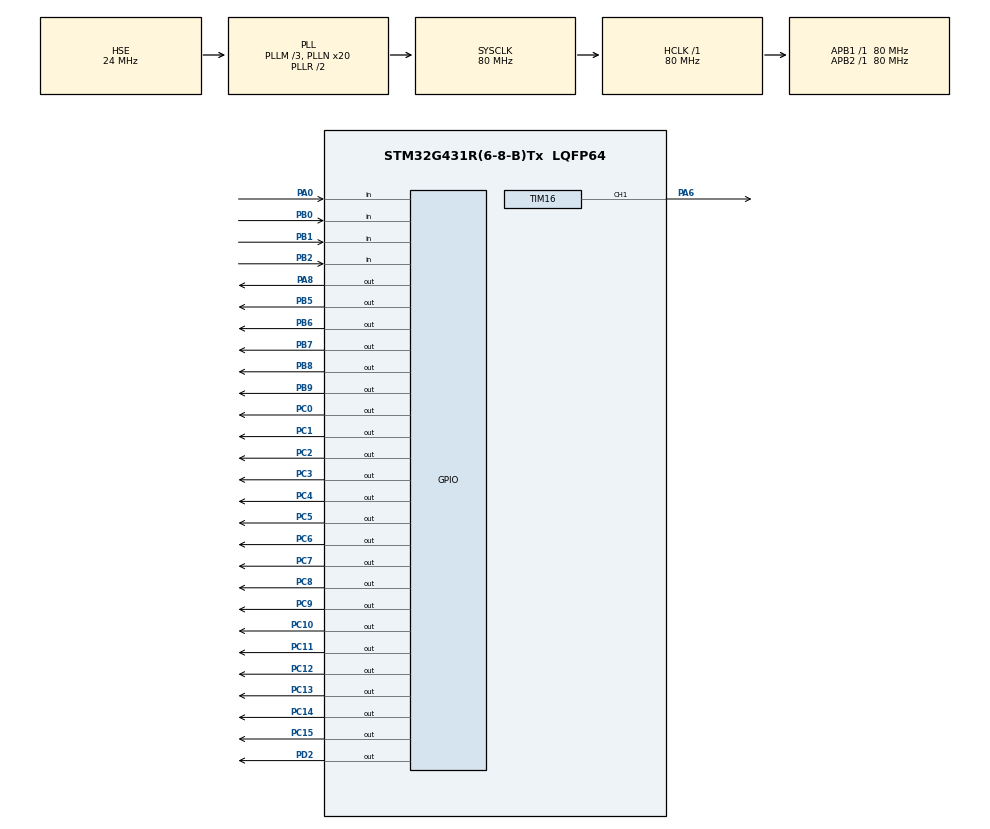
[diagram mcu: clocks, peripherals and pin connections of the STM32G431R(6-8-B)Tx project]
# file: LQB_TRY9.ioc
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Mcu.Family=STM32G4
Mcu.Name=STM32G431R(6-8-B)Tx
Mcu.Package=LQFP64
NVIC.PriorityGroup=NVIC_PRIORITYGROUP_4
NVIC.TIM6_DAC_IRQn=true\:0\:0\:false\:false\:true\:true\:true
PA0.GPIO_Mode=GPIO_MODE_INPUT
PA0.GPIO_PuPd=GPIO_PULLUP
PA0.Signal=GPIO_Input
PA13.Mode=Serial_Wire
PA13.Signal=SYS_JTMS-SWDIO
PA14.Mode=Serial_Wire
PA14.Signal=SYS_JTCK-SWCLK
PA6.Signal=S_TIM16_CH1
PA8.Signal=GPIO_Output
PB0.GPIO_Mode=GPIO_MODE_INPUT
PB0.GPIO_PuPd=GPIO_PULLUP
PB0.Signal=GPIO_Input
PB1.GPIO_Mode=GPIO_MODE_INPUT
PB1.GPIO_PuPd=GPIO_PULLUP
PB1.Signal=GPIO_Input
PB2.GPIO_Mode=GPIO_MODE_INPUT
PB2.GPIO_PuPd=GPIO_PULLUP
PB2.Signal=GPIO_Input
PB5.Signal=GPIO_Output
PB6.Signal=GPIO_Output
PB7.Signal=GPIO_Output
PB8-BOOT0.Signal=GPIO_Output
PB9.Signal=GPIO_Output
PC0.Signal=GPIO_Output
PC1.Signal=GPIO_Output
PC10.Signal=GPIO_Output
PC11.Signal=GPIO_Output
PC12.Signal=GPIO_Output
PC13.Signal=GPIO_Output
PC14-OSC32_IN.Signal=GPIO_Output
PC15-OSC32_OUT.Signal=GPIO_Output
PC2.Signal=GPIO_Output
PC3.Signal=GPIO_Output
PC4.Signal=GPIO_Output
PC5.Signal=GPIO_Output
PC6.Signal=GPIO_Output
PC7.Signal=GPIO_Output
PC8.Signal=GPIO_Output
PC9.Signal=GPIO_Output
PD2.Signal=GPIO_Output
PF0-OSC_IN.Mode=HSE-External-Oscillator
PF0-OSC_IN.Signal=RCC_OSC_IN
PF1-OSC_OUT.Mode=HSE-External-Oscillator
PF1-OSC_OUT.Signal=RCC_OSC_OUT
ProjectManager.HeapSize=0x200
ProjectManager.StackSize=0x400
ProjectManager.TargetToolchain=MDK-ARM V5
RCC.ADC12Freq_Value=80000000
RCC.AHBFreq_Value=80000000
RCC.APB1Freq_Value=80000000
RCC.APB1TimFreq_Value=80000000
RCC.APB2Freq_Value=80000000
RCC.APB2TimFreq_Value=80000000
RCC.CortexFreq_Value=80000000
RCC.EXTERNAL_CLOCK_VALUE=12288000
RCC.HCLKFreq_Value=80000000
RCC.HSE_VALUE=24000000
RCC.HSI48_VALUE=48000000
RCC.HSI_VALUE=16000000
RCC.LSE_VALUE=32768
RCC.PLLM=RCC_PLLM_DIV3
RCC.PLLN=20
RCC.PLLSourceVirtual=RCC_PLLSOURCE_HSE
RCC.SYSCLKFreq_VALUE=80000000
RCC.SYSCLKSource=RCC_SYSCLKSOURCE_PLLCLK
RCC.USBFreq_Value=80000000
RCC.VCOOutputFreq_Value=160000000
SH.S_TIM16_CH1.0=TIM16_CH1,PWM Generation1 CH1
TIM16.Channel=TIM_CHANNEL_1
TIM16.PeriodNoDither=99
TIM16.Prescaler=800-1
TIM16.PulseNoDither_1=80
TIM6.PeriodNoDither=999
TIM6.Prescaler=800-1
VP_SYS_VS_DBSignals.Mode=DisableDeadBatterySignals
VP_TIM16_VS_ClockSourceINT.Mode=Enable_Timer
VP_TIM6_VS_ClockSourceINT.Mode=Enable_Timer
board=custom

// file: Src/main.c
/* USER CODE BEGIN Header */
/**
  ******************************************************************************
  * @file           : main.c
  * @brief          : Main program body
  ******************************************************************************
  * @attention
  *
  * <h2><center>&copy; Copyright (c) 2023 STMicroelectronics.
  * All rights reserved.</center></h2>
  *
  * This software component is licensed by ST under BSD 3-Clause license,
  * the "License"; You may not use this file except in compliance with the
  * License. You may obtain a copy of the License at:
  *                        opensource.org/licenses/BSD-3-Clause
  *
  ******************************************************************************
  */
/* USER CODE END Header */
#include "main.h"
#include "tim.h"
#include "gpio.h"

/* USER CODE BEGIN Includes */
#include "lcd.h"
#include "i2c_hal.h"
#include "mint.h"
#include "stdio.h"

/* USER CODE END Includes */

/* USER CODE BEGIN PV */
extern struct keys key[4];
uint8_t page=0,setting=0,time_sta=0;
char text[30];
char text1;

struct utimes utime[5] = { 0 };
struct utimes stime = { 0 };

extern int dtime;

/* USER CODE END PV */

void SystemClock_Config(void);
/* USER CODE BEGIN PFP */
void KEY_Proc(void);
void LCD_Proc(void);

/* USER CODE END PFP */

int main(void)
{

  /* MCU Configuration--------------------------------------------------------*/

  /* Reset of all peripherals, Initializes the Flash interface and the Systick. */
  HAL_Init();

  /* Configure the system clock */
  SystemClock_Config();

  /* Initialize all configured peripherals */
  MX_GPIO_Init();
  MX_TIM6_Init();
  MX_TIM16_Init();
  /* USER CODE BEGIN 2 */
	HAL_TIM_Base_Start_IT(&htim6);

//	HAL_TIM_PWM_Start(&htim16,TIM_CHANNEL_1);
//	__HAL_TIM_SetCompare(&htim16,TIM_CHANNEL_1,80);

	LCD_Init();
	LCD_Clear(White);
	LCD_SetBackColor(White);
	LCD_SetTextColor(Blue);

	HAL_GPIO_WritePin(GPIOC,GPIO_PIN_All,GPIO_PIN_SET);
	HAL_GPIO_WritePin(GPIOD,GPIO_PIN_2,GPIO_PIN_SET);
	HAL_GPIO_WritePin(GPIOD,GPIO_PIN_2,GPIO_PIN_RESET);

	for(int i=0;i<5;i++)
	{
		utime[i].hour = eeprom_read(3*i)<24?eeprom_read(3*i):0;
		utime[i].min = eeprom_read(3*i+1)<60?eeprom_read(3*i+1):0;
		utime[i].sec = eeprom_read(3*i+2)<60?eeprom_read(3*i+2):0;
	}

  /* USER CODE END 2 */

  /* Infinite loop */
  /* USER CODE BEGIN WHILE */
  while (1)
  {
		KEY_Proc();
		LCD_Proc();
    /* USER CODE END WHILE */

  }
}

void SystemClock_Config(void)
{
  RCC_OscInitTypeDef RCC_OscInitStruct = {0};
  RCC_ClkInitTypeDef RCC_ClkInitStruct = {0};

  /** Configure the main internal regulator output voltage
  */
  HAL_PWREx_ControlVoltageScaling(PWR_REGULATOR_VOLTAGE_SCALE1);
  /** Initializes the RCC Oscillators according to the specified parameters
  * in the RCC_OscInitTypeDef structure.
  */
  RCC_OscInitStruct.OscillatorType = RCC_OSCILLATORTYPE_HSE;
  RCC_OscInitStruct.HSEState = RCC_HSE_ON;
  RCC_OscInitStruct.PLL.PLLState = RCC_PLL_ON;
  RCC_OscInitStruct.PLL.PLLSource = RCC_PLLSOURCE_HSE;
  RCC_OscInitStruct.PLL.PLLM = RCC_PLLM_DIV3;
  RCC_OscInitStruct.PLL.PLLN = 20;
  RCC_OscInitStruct.PLL.PLLP = RCC_PLLP_DIV2;
  RCC_OscInitStruct.PLL.PLLQ = RCC_PLLQ_DIV2;
  RCC_OscInitStruct.PLL.PLLR = RCC_PLLR_DIV2;
  if (HAL_RCC_OscConfig(&RCC_OscInitStruct) != HAL_OK)
  {
    Error_Handler();
  }
  /** Initializes the CPU, AHB and APB buses clocks
  */
  RCC_ClkInitStruct.ClockType = RCC_CLOCKTYPE_HCLK|RCC_CLOCKTYPE_SYSCLK
                              |RCC_CLOCKTYPE_PCLK1|RCC_CLOCKTYPE_PCLK2;
  RCC_ClkInitStruct.SYSCLKSource = RCC_SYSCLKSOURCE_PLLCLK;
  RCC_ClkInitStruct.AHBCLKDivider = RCC_SYSCLK_DIV1;
  RCC_ClkInitStruct.APB1CLKDivider = RCC_HCLK_DIV1;
  RCC_ClkInitStruct.APB2CLKDivider = RCC_HCLK_DIV1;

  if (HAL_RCC_ClockConfig(&RCC_ClkInitStruct, FLASH_LATENCY_2) != HAL_OK)
  {
    Error_Handler();
  }
}

/* USER CODE BEGIN 4 */
int i=0;
void KEY_Proc(void)
{
	/**************************************************短按键*************************************************/
	if(key[0].short_sta == 1)
	{
		page = page==4?0:page+1;
		key[0].short_sta = 0;
	}
	if(key[1].short_sta == 1)
	{
		setting = setting==3?1:setting+1;
		key[1].short_sta = 0;
	}
	if(key[2].short_sta == 1)
	{
		if(setting == 1) utime[page].hour = utime[page].hour==23?0:utime[page].hour+1;
		else if(setting == 2) utime[page].min = utime[page].min==59?0:utime[page].min+1;
		else if(setting == 3) utime[page].sec = utime[page].sec==59?0:utime[page].sec+1;
		key[2].short_sta = 0;
	}
	if(key[3].short_sta == 1)
	{
		if(time_sta == 0)
		{
			//dtime清零，开始计时
			dtime = 0;
			time_sta = 1;
			//定时时不再运行设置
			setting = 0;
			//存储原本定时值
			stime.hour = utime[page].hour;
			stime.min = utime[page].min;
			stime.sec = utime[page].sec;
		}
		else if(time_sta == 1) time_sta = 2;//暂停计时
		else time_sta = 1;//开始计时
		key[3].short_sta = 0;
	}
	/**************************************************长按键*************************************************/
	if(key[0].long_sta == 1)
	{

		key[0].long_sta = 0;
	}
	if(key[1].long_sta == 1)
	{
		setting = 0;
		eeprom_write(3*page,utime[page].hour);
		HAL_Delay(10);
		eeprom_write(3*page+1,utime[page].min);
		HAL_Delay(10);
		eeprom_write(3*page+2,utime[page].sec);
		key[1].long_sta = 0;
	}
	if(key[2].long_sta == 1)
	{
		if(setting == 1) utime[page].hour = utime[page].hour==23?0:utime[page].hour+1;
		else if(setting == 2) utime[page].min = utime[page].min==59?0:utime[page].min+1;
		else if(setting == 3) utime[page].sec = utime[page].sec==59?0:utime[page].sec+1;
		key[2].long_sta = 0;
	}
	if(key[3].long_sta == 1)
	{
		//恢复原本定时值
		utime[page].hour = stime.hour;
		utime[page].min = stime.min;
		utime[page].sec = stime.sec;
		time_sta = 0;//停止计时
		key[3].long_sta = 0;
	}
}

void LCD_Proc(void)
{
	sprintf(text,"    NO %d",page+1);
	LCD_DisplayStringLine(Line1,(unsigned char *)text);
	//时
	if(setting == 1) LCD_SetBackColor(Green);
	sprintf(&text1,"%d",utime[page].hour/10);
	LCD_DisplayChar(Line3,223,text1);
	sprintf(&text1,"%d",utime[page].hour%10);
	LCD_DisplayChar(Line3,207,text1);
	LCD_SetBackColor(White);

	LCD_DisplayChar(Line3,191,':');
	//分
	if(setting == 2) LCD_SetBackColor(Green);
	sprintf(&text1,"%d",utime[page].min/10);
	LCD_DisplayChar(Line3,175,text1);
	sprintf(&text1,"%d",utime[page].min%10);
	LCD_DisplayChar(Line3,159,text1);
	LCD_SetBackColor(White);

	LCD_DisplayChar(Line3,143,':');
	//秒
	if(setting == 3) LCD_SetBackColor(Green);
	sprintf(&text1,"%d",utime[page].sec/10);
	LCD_DisplayChar(Line3,127,text1);
	sprintf(&text1,"%d",utime[page].sec%10);
	LCD_DisplayChar(Line3,111,text1);
	LCD_SetBackColor(White);

	if(setting != 0) sprintf(text,"      Setting      ");
	else if(time_sta == 1)
	{
		if(dtime <= 50) LED_Proc(1,1);
		else if(dtime > 50) LED_Proc(1,0);
		HAL_TIM_PWM_Start(&htim16,TIM_CHANNEL_1);
		sprintf(text,"      Running      ");
	}
	else if(time_sta == 2)
	{
		LED_Proc(1,0);
		HAL_TIM_PWM_Stop(&htim16,TIM_CHANNEL_1);
		sprintf(text,"       Pause       ");
	}
	else
	{
		LED_Proc(1,0);
		HAL_TIM_PWM_Stop(&htim16,TIM_CHANNEL_1);
		sprintf(text,"      Standby      ");
	}
	LCD_DisplayStringLine(Line5,(unsigned char *)text);

}

void LED_Proc(unsigned char led,unsigned char sta)
{
	static unsigned char LED_State = 0xff;
	if(led>8 || led <1) return;
	if(sta == 0) LED_State |= (GPIO_PIN_0 << (led-1));
	else LED_State &= ~(GPIO_PIN_0 << (led-1));
	GPIOC->ODR = LED_State << 8;
//	HAL_GPIO_WritePin(GPIOC,GPIO_PIN_All,GPIO_PIN_SET);
//	HAL_GPIO_WritePin(GPIOC,~(LED_State << 8),GPIO_PIN_RESET);
	HAL_GPIO_WritePin(GPIOD,GPIO_PIN_2,GPIO_PIN_SET);
	HAL_GPIO_WritePin(GPIOD,GPIO_PIN_2,GPIO_PIN_RESET);
}
/* USER CODE END 4 */

void Error_Handler(void)
{
}

/************************ (C) COPYRIGHT STMicroelectronics *****END OF FILE****/
